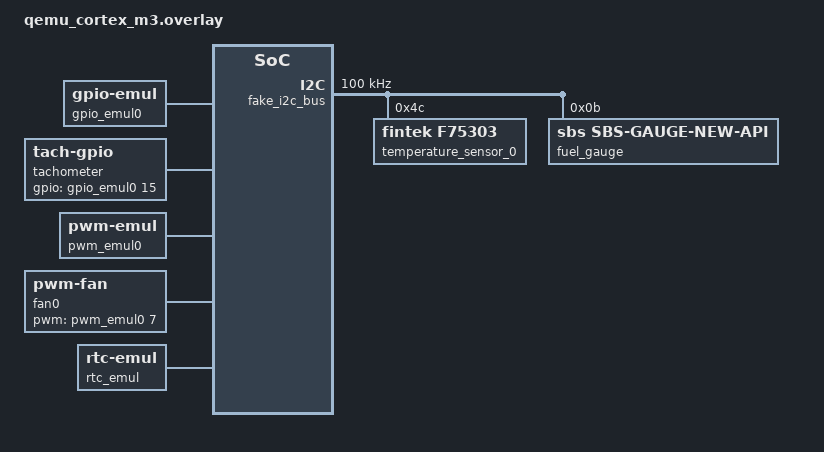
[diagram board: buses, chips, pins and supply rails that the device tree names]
#include <zephyr/dt-bindings/gpio/gpio.h>
#include <zephyr/dt-bindings/i2c/i2c.h>

/ {
	/* Emulated I2C bus hosting the temperature sensor and fuel gauge. */
	fake_i2c_bus: i2c@100 {
		status = "okay";
		compatible = "zephyr,i2c-emul-controller";
		clock-frequency = <I2C_BITRATE_STANDARD>;
		#address-cells = <1>;
		#size-cells = <0>;
		reg = <0x100 4>;

		temperature_sensor_0: f75303@4c {
			compatible = "fintek,f75303";
			reg = <0x4c>;
		};

		fuel_gauge: sbs-gauge@b {
			compatible = "sbs,sbs-gauge-new-api";
			reg = <0x0b>;
			status = "okay";
		};
	};

	/* Emulated GPIO controller used for the tachometer input pin. */
	gpio_emul0: gpio-emul {
		status = "okay";
		compatible = "zephyr,gpio-emul";
		rising-edge;
		falling-edge;
		high-level;
		low-level;
		gpio-controller;
		#gpio-cells = <2>;
		ngpios = <32>;
	};
	tachometer: tachometer {
		compatible = "zephyr,tach-gpio";
		gpios = <&gpio_emul0 15 (GPIO_ACTIVE_HIGH | GPIO_PULL_UP)>;
		pulses-per-round = <2>;
	};

	/* Emulated PWM driver used by PWM Fan */
	pwm_emul0: pwm-emul {
		status = "okay";
		compatible = "zephyr,pwm-emul";
		#pwm-cells = <3>;
		frequency = <1000000>;
	};
	fan0: my-fan {
		compatible = "pwm-fan";
		pwms = <&pwm_emul0 7 40000 0>;
		max-rpm = <5000>;
		min-rpm = <0>;
		min-start-rpm = <3000>;
	};

	/* Emulated RTC */
	rtc_emul: rtc_emul {
		compatible = "zephyr,rtc-emul";
		status = "okay";
	};
	rs_rtc0: rs-rtc {
		compatible = "rs,rtc";
		rtc = <&rtc_emul>;
		resolution-hz = <1>;
	};

    /* Emulated UART */
	cool_uart: uart-emul0 {
		status = "okay";
		compatible = "zephyr,uart-emul";
		current-speed = <115200>;
		loopback;
	};
};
